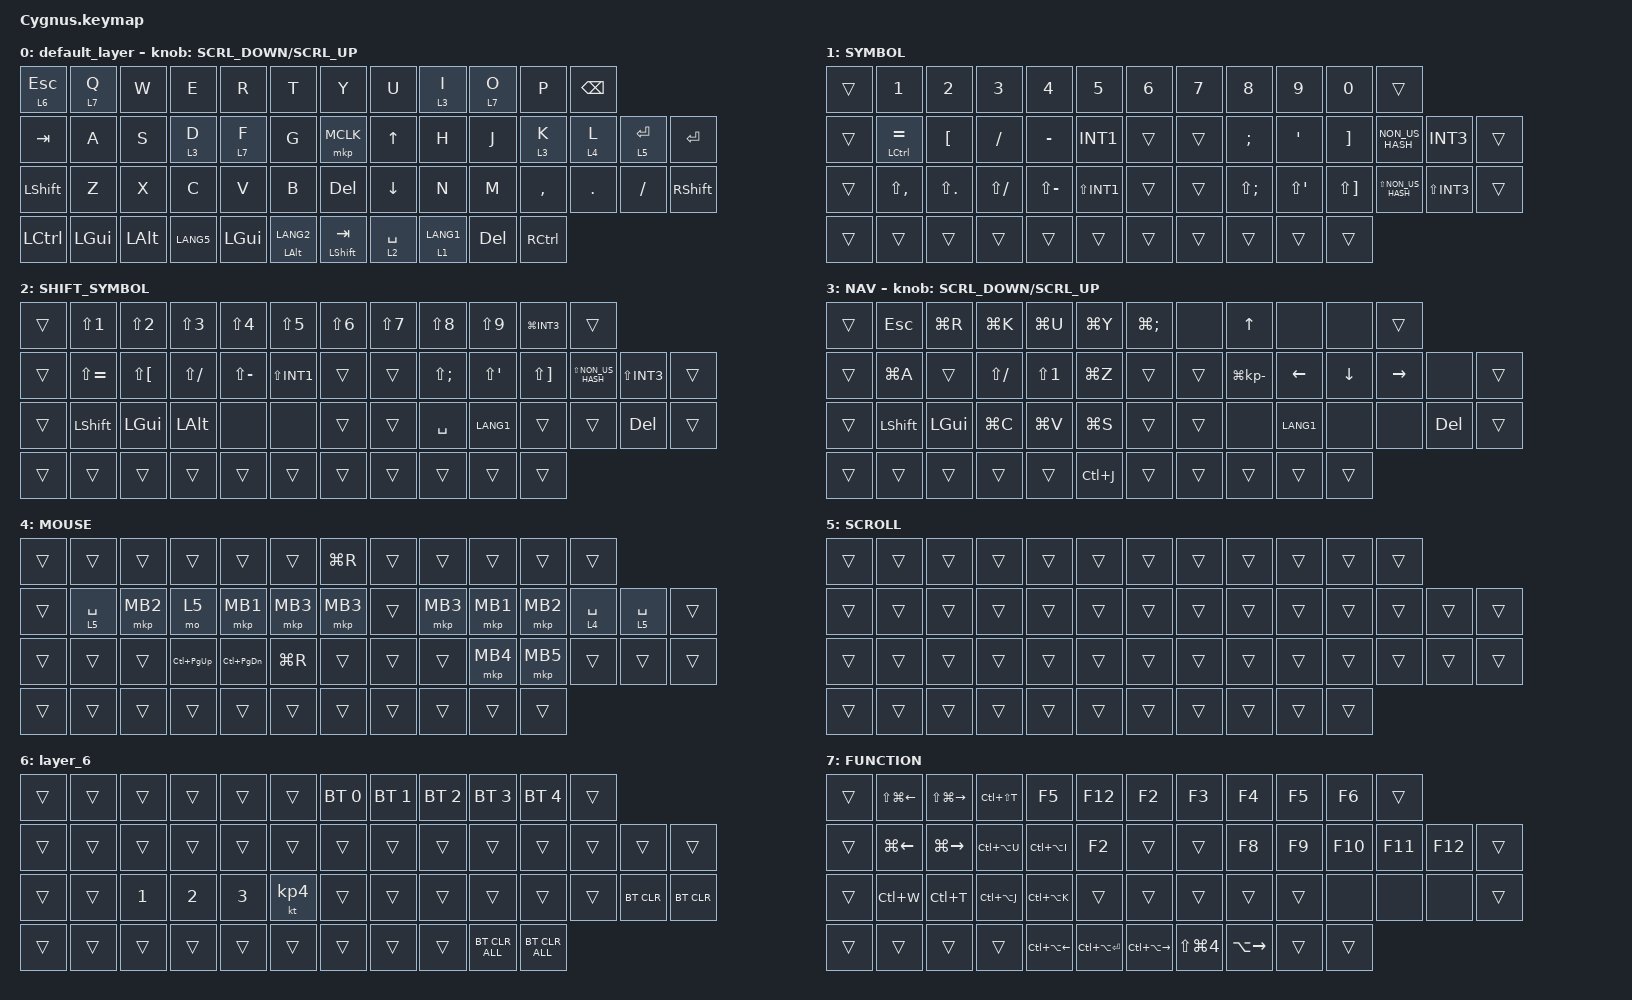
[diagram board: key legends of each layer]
#define ZMK_POINTING_DEFAULT_SCRL_VAL 120    // default: 10

#include <behaviors.dtsi>
#include <dt-bindings/zmk/bt.h>
#include <dt-bindings/zmk/keys.h>
#include <dt-bindings/zmk/pointing.h>

#define MOUSE 4
#define SCROLL 5
#define NUM 6

&mt {
    flavor = "balanced";
    quick-tap-ms = <0>;
};

/ {
    combos {
        compatible = "zmk,combos";

        double_quotation {
            bindings = <&kp DOUBLE_QUOTES>;
            key-positions = <20 21>;
        };
    };

    macros {
        to_layer_0: to_layer_0 {
            compatible = "zmk,behavior-macro-one-param";
            #binding-cells = <1>;
            bindings = <&to 0 &macro_param_1to1 &kp MACRO_PLACEHOLDER>;
            label = "TO_LAYER_0";
        };
    };

    behaviors {
        lt_to_layer_0: lt_to_layer_0 {
            compatible = "zmk,behavior-hold-tap";
            label = "LAYER_TAP_TO_0";
            bindings = <&mo>, <&to_layer_0>;

            #binding-cells = <2>;
            tapping-term-ms = <200>;
        };

        ROTATE: ROTATE {
            compatible = "zmk,behavior-sensor-rotate-var";
            label = "ROTATE";
            #sensor-binding-cells = <2>;
            bindings = <&msc>, <&msc>;

            tap-ms = <20>;
        };
    };

    keymap {
        compatible = "zmk,keymap";

        default_layer {
            bindings = <
&lt 6 ESC       &lt 7 Q         &kp W           &kp E           &kp R           &kp T           &kp Y           &kp U           &lt 3 I         &lt 7 O         &kp P           &kp BSPC
&kp TAB         &kp A           &kp S           &lt 3 D         &lt 7 F         &kp G           &mkp MCLK       &kp UP          &kp H           &kp J           &lt 3 K         &lt 4 L         &lt 5 RET       &kp RET
&kp LSHFT       &kp Z           &kp X           &kp C           &kp V           &kp B           &kp DEL         &kp DOWN        &kp N           &kp M           &kp COMMA       &kp DOT         &kp FSLH        &kp RSHFT
&kp LCTL        &kp LGUI        &kp LALT        &kp LANG5       &kp LGUI        &mt LALT LANG2  &mt LSHFT TAB   &lt 2 SPACE     &lt 1 LANG1     &kp DEL         &kp RCTL
            >;

            sensor-bindings = <&ROTATE SCRL_DOWN SCRL_UP>;
        };

        SYMBOL {
            bindings = <
&trans               &kp N1               &kp N2               &kp N3               &kp N4               &kp N5               &kp N6               &kp N7               &kp N8               &kp N9               &kp N0               &trans
&trans               &mt LCTL EQUAL       &kp LBKT             &kp FSLH             &kp MINUS            &kp INT1             &trans               &trans               &kp SEMI             &kp SQT              &kp RBKT             &kp NON_US_HASH      &kp INT3             &trans
&trans               &kp LS(COMMA)        &kp LS(DOT)          &kp LS(FSLH)         &kp LS(MINUS)        &kp LS(INT1)         &trans               &trans               &kp LS(SEMI)         &kp LS(SQT)          &kp LS(RBKT)         &kp LS(NON_US_HASH)  &kp LS(INT3)         &trans
&trans               &trans               &trans               &trans               &trans               &trans               &trans               &trans               &trans               &trans               &trans
            >;
        };

        SHIFT_SYMBOL {
            bindings = <
&trans               &kp LS(N1)           &kp LS(N2)           &kp LS(N3)           &kp LS(N4)           &kp LS(N5)           &kp LS(N6)           &kp LS(N7)           &kp LS(N8)           &kp LS(N9)           &kp LG(INT3)         &trans
&trans               &kp LS(EQUAL)        &kp LS(LBKT)         &kp LS(FSLH)         &kp LS(MINUS)        &kp LS(INT1)         &trans               &trans               &kp LS(SEMI)         &kp LS(SQT)          &kp LS(RBKT)         &kp LS(NON_US_HASH)  &kp LS(INT3)         &trans
&trans               &kp LSHFT            &kp LGUI             &kp LALT             &none                &none                &trans               &trans               &kp SPACE            &kp LANG1            &trans               &trans               &kp DEL              &trans
&trans               &trans               &trans               &trans               &trans               &trans               &trans               &trans               &trans               &trans               &trans
            >;
        };

        NAV {
            bindings = <
&trans            &kp ESC           &kp LG(R)         &kp LG(K)         &kp LG(U)         &kp LG(Y)         &kp LG(SEMI)      &none             &kp UP            &none             &none             &trans
&trans            &kp LG(A)         &trans            &kp LS(FSLH)      &kp LS(N1)        &kp LG(Z)         &trans            &trans            &kp LG(KP_MINUS)  &kp LEFT          &kp DOWN          &kp RIGHT         &none             &trans
&trans            &kp LSHFT         &kp LGUI          &kp LG(C)         &kp LG(V)         &kp LG(S)         &trans            &trans            &none             &kp LANG1         &none             &none             &kp DEL           &trans
&trans            &trans            &trans            &trans            &trans            &kp LC(J)         &trans            &trans            &trans            &trans            &trans
            >;

            sensor-bindings = <&ROTATE SCRL_DOWN SCRL_UP>;
        };

        MOUSE {
            bindings = <
&trans  &trans       &trans       &trans           &trans             &trans                         &kp LG(R)  &trans           &trans             &trans       &trans       &trans
&trans  &lt 5 SPACE  &mkp MB2     &mo 5            &mkp MB1           &mkp MB3   &mkp MB3    &trans  &mkp MB3   &mkp MB1         &mkp MB2           &lt 4 SPACE  &lt 5 SPACE  &trans
&trans  &trans       &trans       &kp LC(PAGE_UP)  &kp LC(PAGE_DOWN)  &kp LG(R)  &trans      &trans  &trans     &mkp MB4         &mkp MB5           &trans       &trans       &trans
&trans  &trans       &trans       &trans           &trans             &trans     &trans      &trans  &trans                                                      &trans       &trans
            >;
        };

        SCROLL {
            bindings = <
&trans  &trans  &trans  &trans  &trans  &trans                    &trans  &trans  &trans  &trans  &trans  &trans
&trans  &trans  &trans  &trans  &trans  &trans  &trans    &trans  &trans  &trans  &trans  &trans  &trans  &trans
&trans  &trans  &trans  &trans  &trans  &trans  &trans    &trans  &trans  &trans  &trans  &trans  &trans  &trans
&trans  &trans  &trans  &trans  &trans  &trans  &trans    &trans  &trans                          &trans  &trans
            >;
        };

        layer_6 {
            bindings = <
&trans  &trans  &trans        &trans        &trans        &trans                       &bt BT_SEL 0  &bt BT_SEL 1  &bt BT_SEL 2  &bt BT_SEL 3  &bt BT_SEL 4    &trans
&trans  &trans  &trans        &trans        &trans        &trans     &trans    &trans  &trans        &trans        &trans        &trans        &trans          &trans
&trans  &trans  &kp NUMBER_1  &kp NUMBER_2  &kp NUMBER_3  &kt KP_N4  &trans    &trans  &trans        &trans        &trans        &trans        &bt BT_CLR      &bt BT_CLR
&trans  &trans  &trans        &trans        &trans        &trans     &trans    &trans  &trans                                                  &bt BT_CLR_ALL  &bt BT_CLR_ALL
            >;
        };

        FUNCTION {
            bindings = <
&trans             &kp LS(LG(LEFT))   &kp LS(LG(RIGHT))  &kp LC(LS(T))      &kp F5             &kp F12            &kp F2             &kp F3             &kp F4             &kp F5             &kp F6             &trans
&trans             &kp LG(LEFT)       &kp LG(RIGHT)      &kp LC(LA(U))      &kp LC(LA(I))      &kp F2             &trans             &trans             &kp F8             &kp F9             &kp F10            &kp F11            &kp F12            &trans
&trans             &kp LC(W)          &kp LC(T)          &kp LC(LA(J))      &kp LC(LA(K))      &trans             &trans             &trans             &trans             &trans             &none              &none              &none              &trans
&trans             &trans             &trans             &trans             &kp LC(LA(LEFT))   &kp LC(LA(RET))    &kp LC(LA(RIGHT))  &kp LS(LG(N4))     &kp LA(RIGHT)      &trans             &trans
            >;
        };

        extra_1 {
            status = "reserved";
        };

        extra_2 {
            status = "reserved";
        };
    };
};
